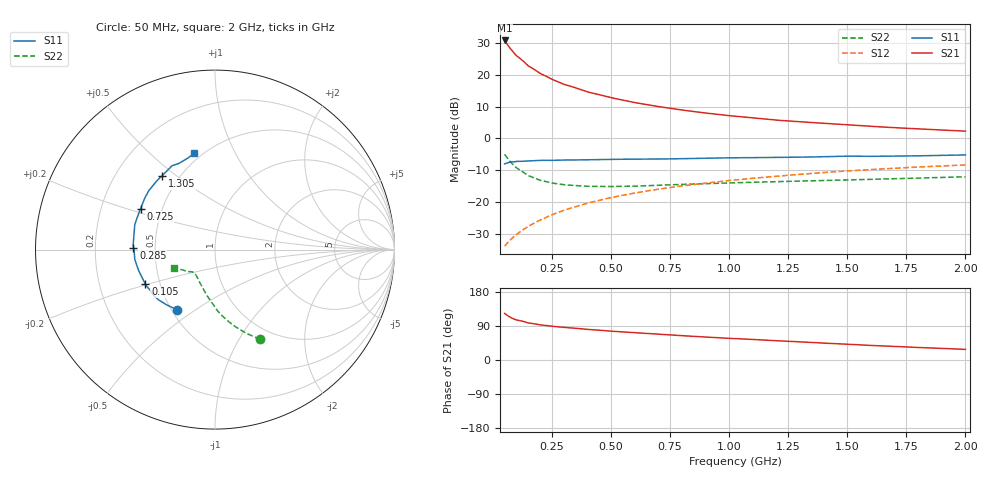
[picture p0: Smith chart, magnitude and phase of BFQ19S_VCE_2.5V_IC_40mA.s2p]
! Infineon Technologies  Discrete & RF Semiconductors
! BFQ19S
! VCE =  2.5 V,  IC =  40 mA
! Common Emitter S-Parameters:  Jan 2016
# GHz  S  MA  R  50
!  f  S11  S21  S12  S22
! GHz  MAG  ANG  MAG  ANG  MAG  ANG  MAG  ANG
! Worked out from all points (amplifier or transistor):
!   391 points, 50 MHz to 2 GHz, reference 50 ohm
!   highest |S21| = 30.9 dB at 50 MHz (marker M1)
!   |S21| within 3 dB of that: start of sweep to 79.07 MHz
!   unconditionally stable (mu >= 1): 275.4 MHz to 1.84 GHz
!   at 375 MHz: K = 1.02, MAG = 17.3 dB, |S12| = -21.0 dB
!   at 1.025 GHz: K = 1.03, MAG = 8.9 dB, |S12| = -13.1 dB
!   at 2 GHz: K = 0.99, MSG = 5.3 dB, |S12| = -8.4 dB
!   S11 on the Smith chart (normalised r, x): 50 MHz: 0.53, -0.42; 105 MHz: 0.41, -0.20; 285 MHz: 0.38, +0.01; 725 MHz: 0.38, +0.22; 1.305 GHz: 0.40, +0.45; 2 GHz: 0.46, +0.70
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0.05  0.3969 -122.6  34.88 123.0  0.02 62.6  0.5592 -63.3
0.06  0.4091 -131.2  30.72 118.0  0.022 62.9  0.4965 -69.7
0.07  0.4212 -138.4  27.25 114.0  0.0243 63.1  0.4461 -75.0
0.08  0.4272 -144.0  24.44 110.6  0.0264 63.2  0.4057 -79.6
0.09  0.4264 -148.3  22.11 107.9  0.0286 64.2  0.3719 -83.7
0.1  0.4332 -152.2  20.1 105.7  0.0305 65.3  0.3439 -87.3
0.105  0.4331 -153.5  19.46 105.1  0.0315 65.6  0.3348 -88.3
0.15  0.4413 -164.6  13.87 97.8  0.0409 67.8  0.2589 -100.2
0.2  0.4502 -172.9  10.57 92.8  0.0515 69.4  0.2188 -109.3
0.25  0.4498 -178.4  8.507 89.0  0.0623 70.7  0.1977 -116.4
0.285  0.4543 178.6  7.541 86.9  0.0699 70.8  0.1892 -119.8
0.3  0.4566 177.3  7.13 85.9  0.0732 70.9  0.1858 -121.3
0.375  0.4579 171.3  5.828 82.3  0.0895 70.5  0.1778 -126.5
0.4  0.4594 169.3  5.401 80.7  0.095 70.4  0.1755 -128.4
0.5  0.468 162.7  4.368 76.1  0.1164 69.6  0.174 -132.4
0.7  0.4716 152.6  3.173 67.9  0.158 66.6  0.1818 -137.3
0.725  0.473 151.3  3.077 67.0  0.1629 66.1  0.1835 -137.8
1.03  0.4944 137.3  2.226 56.3  0.222 60.6  0.1999 -143.1
1.305  0.5061 125.6  1.821 47.7  0.2719 55.6  0.2123 -147.7
1.35  0.509 123.6  1.774 46.3  0.28 54.8  0.2143 -148.4
1.675  0.5234 110.9  1.492 36.5  0.334 48.6  0.2299 -151.3
2  0.548 102.1  1.299 28.0  0.3812 42.8  0.2479 -155.8
